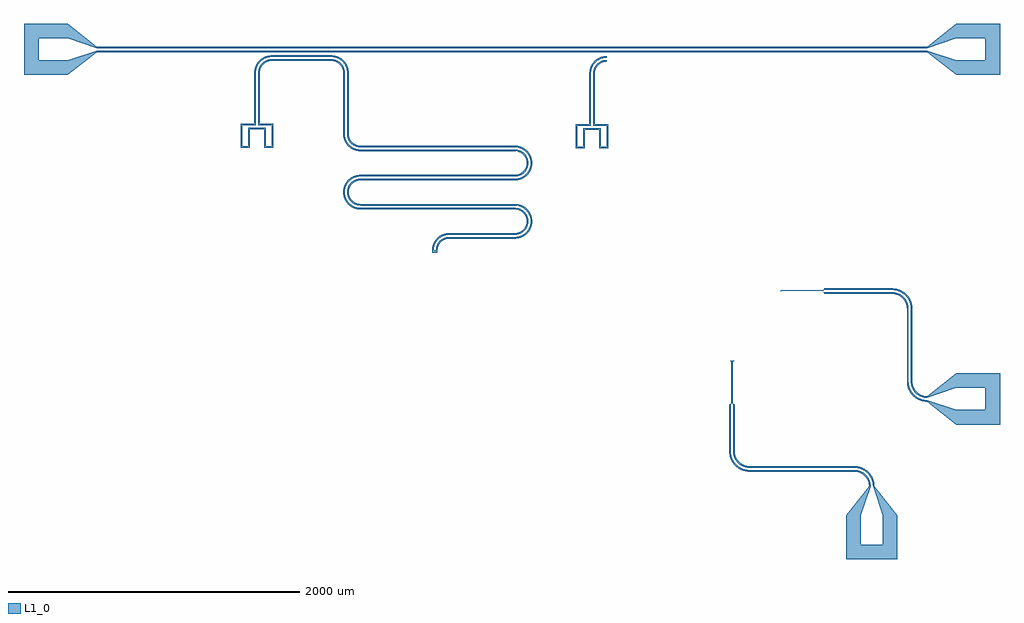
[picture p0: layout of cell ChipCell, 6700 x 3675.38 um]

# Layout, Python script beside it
# -*- coding: utf-8 -*-
"""
Created on Wed Nov 30 11:22:54 2022

Example to show how to use the CPW elements

@author: beaulieu
"""

import numpy as np
import gdspy
from GDS import CPWGuide as CP

lib = gdspy.GdsLibrary()
gdspy.current_library = lib
ChipCell=lib.new_cell("ChipCell")

#%% Define all of the parameters


#Parameters for the Pads
StripWidth=16.692
SlotWidth=10
PadWidth=150.756
OffsetPadEtch=100
PadLength=200
ImpMatchLength=200
TerminationPad={"CPWPad":[PadWidth,OffsetPadEtch,PadLength,ImpMatchLength]}

#Qubit Coupling Parameters
CentralConductorWidth=100
SideConductorWidth=42
SideLength=144
TerminationQubitCoupling={"CPWQubitCoupling":[CentralConductorWidth,SideConductorWidth,SideLength]}

#CPW parameters
InitStripWidth=16.692
InitSlotWidth=10
FinStripWidth=5
FinSlotWidth=3.032
TaperedLength=10
StraightLength=288.484
TerminationQubitDrive={"CPWQubitDriveLine":[FinStripWidth,FinSlotWidth,TaperedLength,StraightLength]}


InitStripWidth=16.471
InitSlotWidth=10
FinStripWidth=5
FinSlotWidth=3.032
TaperedLength=10
StraightLength=288.484
Gap=3
OpeningLength=21.5
OpeningOffset=5.5
TerminationFluxLine={"CPWFluxLine":[FinStripWidth, FinSlotWidth, TaperedLength, StraightLength, Gap, OpeningLength, OpeningOffset]}


#Parameters for the opening
StripWidth=16.692
SlotWidth=10
OpeningWidth=StripWidth+2*SlotWidth
OpeningLength=16.657
TerminationOpening={"CPWOpening":[OpeningWidth, OpeningLength]}

#%% Makes the chip design

GroundPlaneLayer=1
StripWidth=16.692
SlotWidth=10

#Fines the CPW class
CPW=CP.CPWGuide(0,0,0,GroundPlaneLayer)
CPW.setParameters(StripWidth, SlotWidth)

#FeedLine
Cell=CPW.drawTermination(TerminationPad, "-x", GroundPlaneLayer,Reversed=True) #Creates a Pad from 0,0
Cell=CPW.drawStraight(5700, "+x") #Draw the feeline
Cell=CPW.drawTermination(TerminationPad, "+x", GroundPlaneLayer) #Draw the end Pad

#QubitFlux Line
CPW.SetPoint(5820,-3500)
Cell=CPW.drawTermination(TerminationPad, "-y", GroundPlaneLayer,Reversed=True)
Cell=CPW.drawTurn(120, "l", "+y")
Cell=CPW.drawStraight(720, "-x")
Cell=CPW.drawTurn(120, "r", "-x")
Cell=CPW.drawStraight(320, "+y")
Cell=CPW.drawTermination(TerminationFluxLine, "+y", GroundPlaneLayer)


#QubitDrive Line
CPW.SetPoint(6700,-2400)
Cell=CPW.drawTermination(TerminationPad, "+x", GroundPlaneLayer,Reversed=True)
Cell=CPW.drawTurn(120, "r", "-x")
Cell=CPW.drawStraight(500, "+y")
Cell=CPW.drawTurn(120, "l", "+y")
Cell=CPW.drawStraight(465, "-x")
Cell=CPW.drawTermination(TerminationQubitDrive, "-x", GroundPlaneLayer)


#QubitResonator Line
CPW.SetPoint(1600,-547)
Cell=CPW.drawTermination(TerminationQubitCoupling, "-y", GroundPlaneLayer,Reversed=True)
Cell=CPW.drawStraight(350, "+y")
Cell=CPW.drawTurn(100, "r", "+y")
Cell=CPW.drawStraight(410, "+x")
Cell=CPW.drawTurn(100, "r", "+x")
Cell=CPW.drawStraight(420, "-y")
Cell=CPW.drawTurn(100, "l", "-y")
Cell=CPW.drawStraight(1060, "+x")
Cell=CPW.drawTurn(100, "rr", "+x")
Cell=CPW.drawStraight(1060, "-x")
Cell=CPW.drawTurn(100, "ll", "-x")
Cell=CPW.drawStraight(1060, "+x")
Cell=CPW.drawTurn(100, "rr", "+x")
Cell=CPW.drawStraight(450, "-x")
Cell=CPW.drawTurn(100, "l", "-x")
Cell=CPW.drawTermination(TerminationOpening, "-y",GroundPlaneLayer)

#Qubit drive Line but from the reference of the line
CPW.SetPoint(4000,-65)
Cell=CPW.drawTurn(100, "l", "-x")
Cell=CPW.drawStraight(350, "-y")
Cell=CPW.drawTermination(TerminationQubitCoupling, "-y",GroundPlaneLayer)

ChipCell.add(Cell)
lib.write_gds('ExampleCPW.gds')
